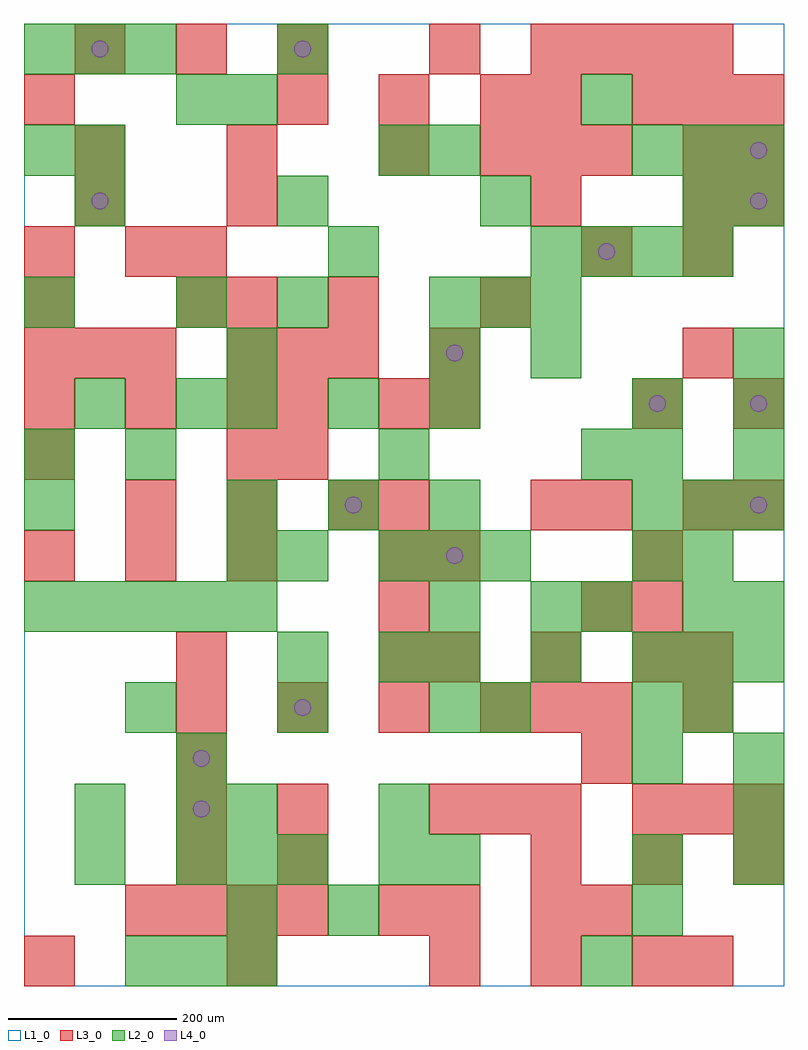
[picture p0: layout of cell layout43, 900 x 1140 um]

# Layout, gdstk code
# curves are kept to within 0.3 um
import gdstk
lib = gdstk.Library(unit=1e-6, precision=1e-09)
def R(c, l, rs):  # rectangles x0, y0, x1, y1
    for r in rs: c.add(gdstk.rectangle(r[:2], r[2:], *l))
def A(c, l, x, y, w, h, nx, ny, dx, dy):  # array of equal rectangles
    R(c, l, [(x+i*dx, y+j*dy, x+i*dx+w, y+j*dy+h) for i in range(nx) for j in range(ny)])
def P(c, l, *ps):  # polygons
    for p in ps: c.add(gdstk.Polygon(p, *l))
L1_0 = (1, 0)
L2_0 = (2, 0)
L3_0 = (3, 0)
L4_0 = (4, 0)

layout43 = lib.new_cell('layout43')
R(layout43, L1_0, [(0,0,900,1140)])
A(layout43, L2_0, 120, 0, 60, 60, 3, 1, 60, 0)
A(layout43, L2_0, 180, 120, 60, 60, 3, 1, 60, 0)
A(layout43, L2_0, 480, 120, 60, 60, 1, 3, 0, 300)
A(layout43, L2_0, 840, 120, 60, 60, 1, 3, 0, 60)
A(layout43, L2_0, 120, 300, 60, 60, 3, 1, 180, 0)
A(layout43, L2_0, 780, 300, 60, 60, 1, 4, 0, 60)
A(layout43, L2_0, 480, 360, 60, 60, 3, 1, 120, 0)
A(layout43, L2_0, 0, 420, 60, 60, 5, 1, 60, 0)
A(layout43, L2_0, 300, 480, 60, 60, 1, 3, 0, 300)
A(layout43, L2_0, 420, 480, 60, 60, 3, 1, 60, 0)
A(layout43, L2_0, 240, 540, 60, 60, 3, 2, 120, 120)
A(layout43, L2_0, 720, 540, 60, 60, 3, 2, 60, 420)
A(layout43, L2_0, 0, 600, 60, 60, 1, 3, 0, 180)
A(layout43, L2_0, 840, 600, 60, 60, 1, 3, 0, 60)
A(layout43, L2_0, 480, 780, 60, 60, 3, 1, 60, 0)
A(layout43, L2_0, 600, 840, 60, 60, 4, 1, 60, 0)
A(layout43, L2_0, 60, 900, 60, 60, 4, 1, 240, 0)
A(layout43, L2_0, 0, 1080, 60, 60, 3, 1, 60, 0)
R(layout43, L2_0, [(660,0,720,60), (240,60,300,120), (360,60,420,120), (720,60,780,120), (60,120,120,180), (420,120,480,180), (720,120,780,180), (60,180,120,240), (180,180,240,240), (240,180,300,240), (420,180,480,240), (180,240,240,300), (720,240,780,300), (540,300,600,360), (720,300,780,360), (300,360,360,420), (420,360,480,420), (840,360,900,420), (600,420,660,480), (660,420,720,480), (840,420,900,480), (240,480,300,540), (720,480,780,540), (0,540,60,600), (120,600,180,660), (420,600,480,660), (660,600,720,660), (720,600,780,660), (60,660,120,720), (180,660,240,720), (720,660,780,720), (240,720,300,780), (600,720,660,780), (180,780,240,840), (360,840,420,900), (840,900,900,960), (60,960,120,1020), (420,960,480,1020), (480,960,540,1020), (180,1020,240,1080), (240,1020,300,1080), (660,1020,720,1080)])
A(layout43, L3_0, 0, 0, 60, 60, 3, 1, 240, 0)
A(layout43, L3_0, 120, 60, 60, 60, 4, 1, 60, 0)
A(layout43, L3_0, 600, 60, 60, 60, 1, 3, 0, 240)
A(layout43, L3_0, 180, 120, 60, 60, 1, 3, 0, 60)
A(layout43, L3_0, 600, 120, 60, 60, 3, 1, 120, 0)
A(layout43, L3_0, 480, 180, 60, 60, 3, 1, 60, 0)
A(layout43, L3_0, 720, 180, 60, 60, 3, 2, 60, 840)
A(layout43, L3_0, 180, 300, 60, 60, 4, 1, 120, 0)
A(layout43, L3_0, 660, 300, 60, 60, 1, 3, 0, 120)
A(layout43, L3_0, 420, 360, 60, 60, 1, 4, 0, 60)
A(layout43, L3_0, 480, 360, 60, 60, 3, 1, 120, 0)
A(layout43, L3_0, 780, 360, 60, 60, 1, 3, 0, 180)
A(layout43, L3_0, 0, 480, 60, 60, 3, 2, 120, 180)
A(layout43, L3_0, 120, 540, 60, 60, 3, 1, 120, 0)
A(layout43, L3_0, 0, 720, 60, 60, 3, 1, 60, 0)
A(layout43, L3_0, 240, 720, 60, 60, 3, 1, 60, 0)
A(layout43, L3_0, 780, 840, 60, 60, 1, 3, 0, 60)
A(layout43, L3_0, 60, 960, 60, 60, 3, 1, 180, 0)
A(layout43, L3_0, 540, 960, 60, 60, 3, 1, 60, 0)
A(layout43, L3_0, 300, 1020, 60, 60, 3, 1, 120, 0)
A(layout43, L3_0, 60, 1080, 60, 60, 3, 1, 120, 0)
A(layout43, L3_0, 600, 1080, 60, 60, 4, 1, 60, 0)
R(layout43, L3_0, [(600,0,660,60), (720,0,780,60), (780,0,840,60), (420,60,480,120), (480,60,540,120), (660,60,720,120), (300,120,360,180), (300,180,360,240), (660,240,720,300), (780,300,840,360), (180,360,240,420), (720,420,780,480), (480,480,540,540), (720,480,780,540), (840,540,900,600), (0,600,60,660), (240,600,300,660), (300,600,360,660), (300,660,360,720), (420,660,480,720), (480,660,540,720), (720,660,780,720), (840,660,900,720), (480,720,540,780), (0,780,60,840), (180,780,240,840), (240,780,300,840), (360,780,420,840), (540,780,600,840), (0,840,60,900), (120,840,180,900), (180,840,240,900), (660,840,720,900), (60,900,120,960), (240,900,300,960), (600,900,660,960), (840,900,900,960), (840,960,900,1020), (0,1020,60,1080), (600,1020,660,1080), (480,1080,540,1140)])
P(layout43, L4_0, [(100,930),(99.239,933.827),(97.071,937.071),(93.827,939.239),(90,940),(86.173,939.239),(82.929,937.071),(80.761,933.827),(80,930),(80.761,926.173),(82.929,922.929),(86.173,920.761),(90,920),(93.827,920.761),(97.071,922.929),(99.239,926.173)],
  [(100,1110),(99.239,1113.827),(97.071,1117.071),(93.827,1119.239),(90,1120),(86.173,1119.239),(82.929,1117.071),(80.761,1113.827),(80,1110),(80.761,1106.173),(82.929,1102.929),(86.173,1100.761),(90,1100),(93.827,1100.761),(97.071,1102.929),(99.239,1106.173)],
  [(220,210),(219.239,213.827),(217.071,217.071),(213.827,219.239),(210,220),(206.173,219.239),(202.929,217.071),(200.761,213.827),(200,210),(200.761,206.173),(202.929,202.929),(206.173,200.761),(210,200),(213.827,200.761),(217.071,202.929),(219.239,206.173)],
  [(220,270),(219.239,273.827),(217.071,277.071),(213.827,279.239),(210,280),(206.173,279.239),(202.929,277.071),(200.761,273.827),(200,270),(200.761,266.173),(202.929,262.929),(206.173,260.761),(210,260),(213.827,260.761),(217.071,262.929),(219.239,266.173)],
  [(340,330),(339.239,333.827),(337.071,337.071),(333.827,339.239),(330,340),(326.173,339.239),(322.929,337.071),(320.761,333.827),(320,330),(320.761,326.173),(322.929,322.929),(326.173,320.761),(330,320),(333.827,320.761),(337.071,322.929),(339.239,326.173)],
  [(340,1110),(339.239,1113.827),(337.071,1117.071),(333.827,1119.239),(330,1120),(326.173,1119.239),(322.929,1117.071),(320.761,1113.827),(320,1110),(320.761,1106.173),(322.929,1102.929),(326.173,1100.761),(330,1100),(333.827,1100.761),(337.071,1102.929),(339.239,1106.173)],
  [(400,570),(399.239,573.827),(397.071,577.071),(393.827,579.239),(390,580),(386.173,579.239),(382.929,577.071),(380.761,573.827),(380,570),(380.761,566.173),(382.929,562.929),(386.173,560.761),(390,560),(393.827,560.761),(397.071,562.929),(399.239,566.173)],
  [(520,510),(519.239,513.827),(517.071,517.071),(513.827,519.239),(510,520),(506.173,519.239),(502.929,517.071),(500.761,513.827),(500,510),(500.761,506.173),(502.929,502.929),(506.173,500.761),(510,500),(513.827,500.761),(517.071,502.929),(519.239,506.173)],
  [(520,750),(519.239,753.827),(517.071,757.071),(513.827,759.239),(510,760),(506.173,759.239),(502.929,757.071),(500.761,753.827),(500,750),(500.761,746.173),(502.929,742.929),(506.173,740.761),(510,740),(513.827,740.761),(517.071,742.929),(519.239,746.173)],
  [(700,870),(699.239,873.827),(697.071,877.071),(693.827,879.239),(690,880),(686.173,879.239),(682.929,877.071),(680.761,873.827),(680,870),(680.761,866.173),(682.929,862.929),(686.173,860.761),(690,860),(693.827,860.761),(697.071,862.929),(699.239,866.173)],
  [(760,690),(759.239,693.827),(757.071,697.071),(753.827,699.239),(750,700),(746.173,699.239),(742.929,697.071),(740.761,693.827),(740,690),(740.761,686.173),(742.929,682.929),(746.173,680.761),(750,680),(753.827,680.761),(757.071,682.929),(759.239,686.173)],
  [(880,570),(879.239,573.827),(877.071,577.071),(873.827,579.239),(870,580),(866.173,579.239),(862.929,577.071),(860.761,573.827),(860,570),(860.761,566.173),(862.929,562.929),(866.173,560.761),(870,560),(873.827,560.761),(877.071,562.929),(879.239,566.173)],
  [(880,690),(879.239,693.827),(877.071,697.071),(873.827,699.239),(870,700),(866.173,699.239),(862.929,697.071),(860.761,693.827),(860,690),(860.761,686.173),(862.929,682.929),(866.173,680.761),(870,680),(873.827,680.761),(877.071,682.929),(879.239,686.173)],
  [(880,930),(879.239,933.827),(877.071,937.071),(873.827,939.239),(870,940),(866.173,939.239),(862.929,937.071),(860.761,933.827),(860,930),(860.761,926.173),(862.929,922.929),(866.173,920.761),(870,920),(873.827,920.761),(877.071,922.929),(879.239,926.173)],
  [(880,990),(879.239,993.827),(877.071,997.071),(873.827,999.239),(870,1000),(866.173,999.239),(862.929,997.071),(860.761,993.827),(860,990),(860.761,986.173),(862.929,982.929),(866.173,980.761),(870,980),(873.827,980.761),(877.071,982.929),(879.239,986.173)])

lib.write_gds('layout43.gds')
